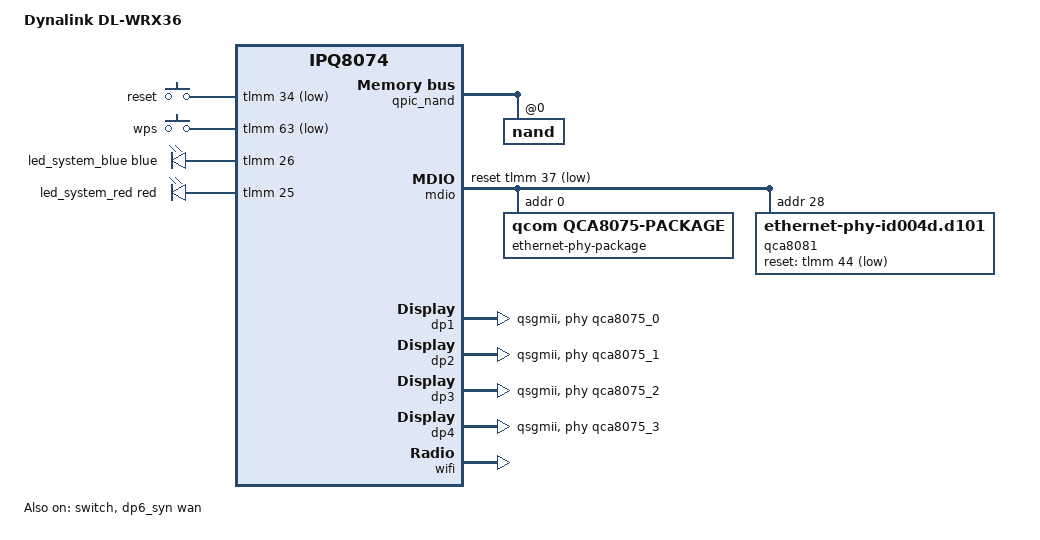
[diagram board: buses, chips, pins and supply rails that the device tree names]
// SPDX-License-Identifier: GPL-2.0-or-later OR MIT

/dts-v1/;

#include "ipq8074.dtsi"
#include "ipq8074-ess.dtsi"
#include "ipq8074-nss.dtsi"
#include "ipq8074-common.dtsi"
#include "ipq8074-hk-cpu.dtsi"

#include <dt-bindings/gpio/gpio.h>
#include <dt-bindings/input/input.h>
#include <dt-bindings/leds/common.h>

/ {
	model = "Dynalink DL-WRX36";
	compatible = "dynalink,dl-wrx36", "qcom,ipq8074";

	aliases {
		serial0 = &blsp1_uart5;

		led-boot = &led_system_red;
		led-failsafe = &led_system_red;
		led-running = &led_system_blue;
		led-upgrade = &led_system_red;

		ethernet0 = &dp6_syn;
		ethernet1 = &dp4;
		ethernet2 = &dp3;
		ethernet3 = &dp2;
		ethernet4 = &dp1;

		label-mac-device = &dp6_syn;
	};

	chosen {
		stdout-path = "serial0:115200n8";
		bootargs-append = " root=/dev/ubiblock0_1";
	};

	keys {
		compatible = "gpio-keys";

		reset {
			label = "reset";
			gpios = <&tlmm 34 GPIO_ACTIVE_LOW>;
			linux,code = <KEY_RESTART>;
		};

		wps {
			label = "wps";
			gpios = <&tlmm 63 GPIO_ACTIVE_LOW>;
			linux,code = <KEY_WPS_BUTTON>;
		};
	};

	leds {
		compatible = "gpio-leds";

		led_system_blue: system-blue {
			gpios = <&tlmm 26 GPIO_ACTIVE_HIGH>;
			color = <LED_COLOR_ID_BLUE>;
		};

		led_system_red: system-red {
			gpios = <&tlmm 25 GPIO_ACTIVE_HIGH>;
			color = <LED_COLOR_ID_RED>;
		};
	};
};

&qpic_nand {
	status = "okay";

	nand@0 {
		reg = <0>;

		nand-ecc-strength = <8>;
		nand-ecc-step-size = <512>;
		nand-bus-width = <8>;

		partitions {
			compatible = "qcom,smem-part";
		};
	};
};

&mdio {
	status = "okay";

	pinctrl-0 = <&mdio_pins>;
	pinctrl-names = "default";
	reset-gpios = <&tlmm 37 GPIO_ACTIVE_LOW>;

	ethernet-phy-package@0 {
		compatible = "qcom,qca8075-package";
		#address-cells = <1>;
		#size-cells = <0>;
		reg = <0>;

		qcom,package-mode = "qsgmii";

		qca8075_0: ethernet-phy@0 {
			compatible = "ethernet-phy-ieee802.3-c22";
			reg = <0>;
		};

		qca8075_1: ethernet-phy@1 {
			compatible = "ethernet-phy-ieee802.3-c22";
			reg = <1>;
		};

		qca8075_2: ethernet-phy@2 {
			compatible = "ethernet-phy-ieee802.3-c22";
			reg = <2>;
		};

		qca8075_3: ethernet-phy@3 {
			compatible = "ethernet-phy-ieee802.3-c22";
			reg = <3>;
		};
	};

	qca8081: ethernet-phy@28 {
		compatible = "ethernet-phy-id004d.d101";
		reg = <28>;
		reset-deassert-us = <10000>;
		reset-gpios = <&tlmm 44 GPIO_ACTIVE_LOW>;
	};
};

&switch {
	status = "okay";

	switch_lan_bmp = <(ESS_PORT1 | ESS_PORT2 | ESS_PORT3 | ESS_PORT4)>;
	switch_wan_bmp = <ESS_PORT6>;
	switch_mac_mode = <MAC_MODE_QSGMII>;
	switch_mac_mode2 = <MAC_MODE_SGMII_PLUS>;

	qcom,port_phyinfo {
		port@1 {
			port_id = <1>;
			phy_address = <0>;
		};

		port@2 {
			port_id = <2>;
			phy_address = <1>;
		};

		port@3 {
			port_id = <3>;
			phy_address = <2>;
		};

		port@4 {
			port_id = <4>;
			phy_address = <3>;
		};

		port@6 {
			port_id = <6>;
			phy_address = <28>;
			port_mac_sel = "QGMAC_PORT";
		};
	};
};

&edma {
	status = "okay";
};

&dp1 {
	status = "okay";
	phy-mode = "qsgmii";
	phy-handle = <&qca8075_0>;
	label = "lan4";
};

&dp2 {
	status = "okay";
	phy-mode = "qsgmii";
	phy-handle = <&qca8075_1>;
	label = "lan3";
};

&dp3 {
	status = "okay";
	phy-mode = "qsgmii";
	phy-handle = <&qca8075_2>;
	label = "lan2";
};

&dp4 {
	status = "okay";
	phy-mode = "qsgmii";
	phy-handle = <&qca8075_3>;
	label = "lan1";
};

&dp6_syn {
	status = "okay";
	phy-handle = <&qca8081>;
	label = "wan";
};

&wifi {
	status = "okay";
	qcom,ath11k-fw-memory-mode = <1>;
	qcom,ath11k-calibration-variant = "Dynalink-DL-WRX36";
};
